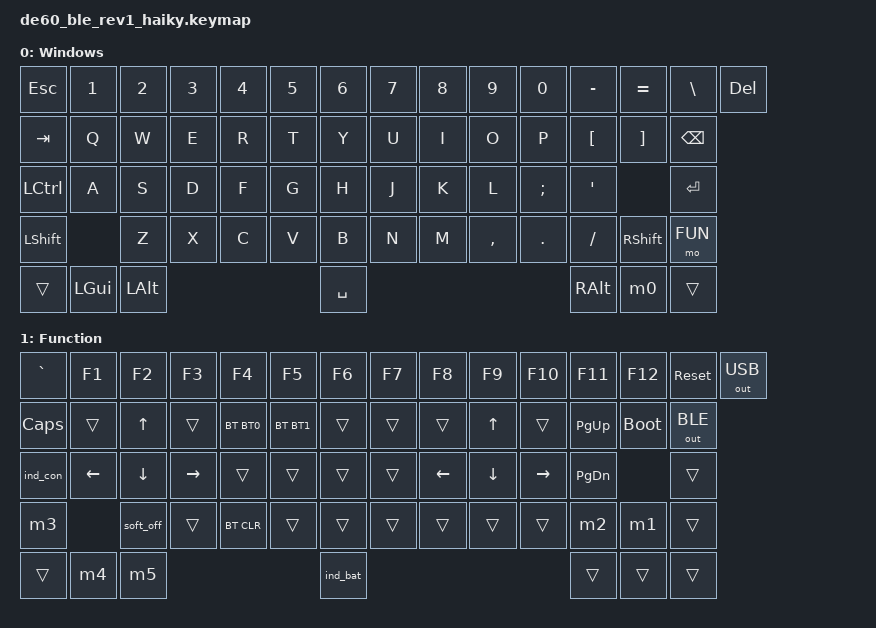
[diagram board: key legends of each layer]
/*
 * Copyright (c) 2025 Deemen17 Works
 *
 * SPDX-License-Identifier: MIT
 */

#include <behaviors.dtsi>
#include <dt-bindings/zmk/keys.h>
#include <dt-bindings/zmk/bt.h>
#include <dt-bindings/zmk/ext_power.h>
#include <dt-bindings/zmk/rgb.h>
#include <dt-bindings/zmk/outputs.h>

#include <behaviors/rgbled_widget.dtsi>

#define BT0 BT_SEL 0
#define BT1 BT_SEL 1
#define BT2 BT_SEL 2
#define BTC BT_CLR 

#define OUTUSB &out OUT_USB
#define OUTBLE &out OUT_BLE

#define SOOFF &soft_off

#define RESET &sys_reset
#define BOTLR &bootloader

#define WIN 0
#define FUN 1

&mt {
    tapping-term-ms = <200>; 
};

&soft_off {
    hold-time-ms = <2000>; // Only turn off it the key is held for 2 seconds or longer.
};


/ {

    // Macro behaviors
    macros {
        // M0: Ctrl + Alt + Del (simultaneous press)
        m0: macro_ctrl_alt_del {
            compatible = "zmk,behavior-macro";
            #binding-cells = <0>;
            bindings = <&kp LC(LA(DEL))>;
        };

        // M1: Type "290891"
        m1: macro_290891 {
            compatible = "zmk,behavior-macro";
            #binding-cells = <0>;
            bindings = <&kp N2 &kp N9 &kp N0 &kp N8 &kp N9 &kp N1>;
        };

        // M2: Win + L (lock screen)
        m2: macro_win_l {
            compatible = "zmk,behavior-macro";
            #binding-cells = <0>;
            bindings = <&kp LG(L)>;
        };

        // M3: Type "ky91.hai" 
        m3: macro_ky91_hai {
            compatible = "zmk,behavior-macro";
            #binding-cells = <0>;
            bindings = <&kp K &kp Y &kp N9 &kp N1 &kp DOT &kp H &kp A &kp I>;
        };

        // M4: Type "haiky91na!"
        m4: macro_haiky91na {
            compatible = "zmk,behavior-macro";
            #binding-cells = <0>;
            bindings = <&kp H &kp A &kp I &kp K &kp Y &kp N9 &kp N1 &kp N &kp A &kp EXCL>;
        };

        // M5: Type "haiky990na!"
        m5: macro_haiky990na {
            compatible = "zmk,behavior-macro";
            #binding-cells = <0>;
            bindings = <&kp H &kp A &kp I &kp K &kp Y &kp N9 &kp N9 &kp N0 &kp N &kp A &kp EXCL>;
        };
    };

    keymap {
        compatible = "zmk,keymap";

        base {
            label = "Windows";
            bindings = <
&kp ESC   &kp N1   &kp N2  &kp N3  &kp N4  &kp N5  &kp N6  &kp N7  &kp N8  &kp N9    &kp N0   &kp MINUS &kp EQUAL &kp BSLH  &kp DEL 
&kp TAB   &kp Q    &kp W   &kp E   &kp R   &kp T   &kp Y   &kp U   &kp I   &kp O     &kp P    &kp LBKT  &kp RBKT  &kp BSPC  
&kp LCTRL &kp A    &kp S   &kp D   &kp F   &kp G   &kp H   &kp J   &kp K   &kp L     &kp SEMI &kp SQT             &kp ENTER 
&kp LSHFT          &kp Z   &kp X   &kp C   &kp V   &kp B   &kp N   &kp M   &kp COMMA &kp DOT  &kp FSLH  &kp RSHFT &mo FUN
&trans    &kp LGUI &kp LALT                        &kp SPACE                                  &kp RALT  &m0       &trans
            >;
        };

        layer_function {
            label = "Function";
            bindings = <
&kp GRAVE &kp F1   &kp F2   &kp F3    &kp F4  &kp F5  &kp F6  &kp F7 &kp F8   &kp F9   &kp F10   &kp F11   &kp F12 RESET OUTUSB
&kp CAPS  &trans   &kp UP   &trans    &bt BT0 &bt BT1 &trans  &trans &trans   &kp UP   &trans    &kp PG_UP BOTLR   OUTBLE
&ind_con  &kp LEFT &kp DOWN &kp RIGHT &trans  &trans  &trans  &trans &kp LEFT &kp DOWN &kp RIGHT &kp PG_DN         &trans
&m3                SOOFF    &trans    &bt BTC &trans  &trans  &trans &trans   &trans   &trans    &m2       &m1     &trans
&trans    &m4      &m5                                &ind_bat                                   &trans    &trans  &trans
            >;
        };
    };

};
